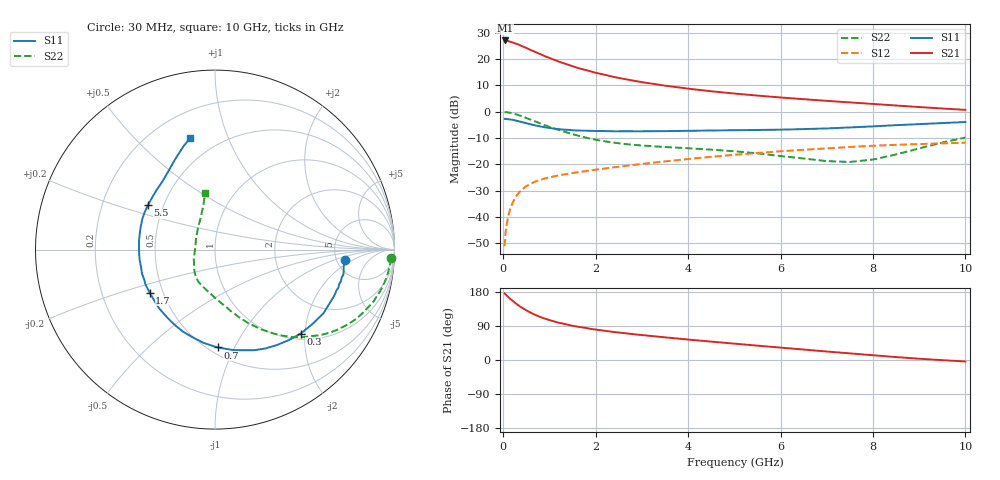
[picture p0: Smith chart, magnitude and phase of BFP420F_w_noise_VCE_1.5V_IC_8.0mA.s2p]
! Infineon Technologies  Discrete & RF Semiconductors
! BFP420F
! VCE =  1.5 V,  IC =  8.0 mA
! Common Emitter S-Parameters:  Sep 2011
# GHz  S  MA  R  50
!  f  S11  S21  S12  S22
! GHz  MAG  ANG  MAG  ANG  MAG  ANG  MAG  ANG
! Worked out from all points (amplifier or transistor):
!   54 points, 30 MHz to 10 GHz, reference 50 ohm
!   highest |S21| = 27.0 dB at 40 MHz (marker M1)
!   |S21| within 3 dB of that: start of sweep to 517.5 MHz
!   unconditionally stable (mu >= 1): 2.187 GHz to end of sweep
!   at 120 MHz: K = 0.12, MSG = 32.8 dB, |S12| = -38.9 dB
!   at 1.3 GHz: K = 0.70, MSG = 21.1 dB, |S12| = -23.9 dB
!   at 10 GHz: K = 1.30, MAG = 2.9 dB, |S12| = -11.8 dB
!   lowest NFmin = 1.08 dB at 450 MHz
!   S11 on the Smith chart (normalised r, x): 30 MHz: 6.00, -1.46; 300 MHz: 1.12, -1.90; 700 MHz: 0.55, -0.86; 1.7 GHz: 0.42, -0.25; 5.5 GHz: 0.41, +0.25; 10 GHz: 0.35, +0.74
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0.03  0.7286 -4.5  22.38 175.7  0.0028 88.0  0.98 -2.8
0.04  0.7267 -6.1  22.39 174.5  0.0037 88.1  0.9793 -3.7
0.1  0.718 -15.6  21.97 167.2  0.0095 83.1  0.9672 -9.4
0.15  0.7081 -23.3  21.21 161.6  0.014 79.5  0.9499 -13.9
0.25  0.6829 -37.5  19.81 151.5  0.0223 73.6  0.9023 -22.2
0.3  0.6684 -44.5  19.18 146.9  0.0262 70.8  0.8771 -26.1
0.35  0.6505 -50.9  18.39 142.5  0.0296 68.2  0.8471 -29.6
0.45  0.6189 -62.8  16.88 134.6  0.0358 63.6  0.7886 -36.0
0.6  0.5712 -79.1  14.69 124.5  0.0431 58.4  0.6989 -44.2
0.7  0.5456 -88.4  13.48 118.7  0.0473 55.8  0.6474 -48.8
0.8  0.5232 -97.2  12.33 113.6  0.0508 53.8  0.5983 -52.9
0.9  0.5033 -104.7  11.28 109.3  0.0538 52.2  0.5537 -56.4
1.1  0.4758 -118.1  9.644 101.8  0.0592 49.9  0.4791 -62.8
1.4  0.451 -134.1  7.784 93.1  0.0662 48.3  0.3968 -70.8
1.7  0.4354 -146.7  6.432 86.2  0.0726 47.6  0.3348 -77.8
2  0.4286 -156.6  5.452 80.3  0.0791 47.2  0.2931 -84.6
2.4  0.4231 -167.0  4.535 73.8  0.0879 46.9  0.2577 -92.8
3.5  0.4268 172.4  3.111 59.8  0.1136 45.6  0.2129 -110.5
5.5  0.4484 146.5  2.014 37.9  0.1641 38.3  0.1614 -135.8
7  0.4796 127.5  1.601 22.4  0.2007 30.5  0.115 -171.1
8.5  0.5531 113.4  1.306 7.7  0.2344 21.0  0.1539 128.0
10  0.6352 102.6  1.08 -3.9  0.2572 12.5  0.3226 99.8
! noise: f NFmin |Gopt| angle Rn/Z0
0.45  1.08  0.09  22  0.18
0.9  1.1  0.1  56  0.15
1.9  1.26  0.14  138  0.2
2.4  1.33  0.15  140  0.13
3.5  1.6  0.2  167  0.13
